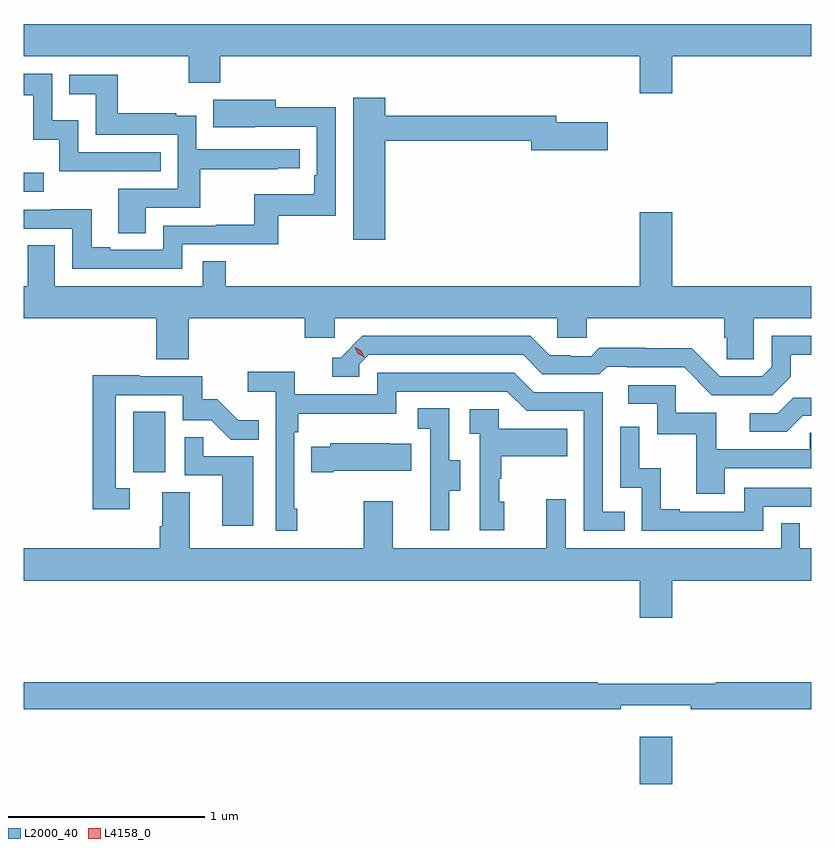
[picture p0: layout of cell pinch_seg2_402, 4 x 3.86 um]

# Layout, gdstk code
import gdstk
lib = gdstk.Library(unit=1e-6, precision=1e-09)
def R(c, l, rs):  # rectangles x0, y0, x1, y1
    for r in rs: c.add(gdstk.rectangle(r[:2], r[2:], *l))
def P(c, l, *ps):  # polygons
    for p in ps: c.add(gdstk.Polygon(p, *l))
L2000_40 = (2000, 40)
L4158_0 = (4158, 0)

pinch_seg2_402 = lib.new_cell('pinch_seg2_402')
R(pinch_seg2_402, L2000_40, [(1004.168,613.303,1004.332,613.543), (1001.594,614.886,1001.758,615.193), (1001.039,616.311,1001.14,616.408)])
P(pinch_seg2_402, L2000_40, [(1004.332,617),(1005.039,617),(1005.039,617.164),(1001.039,617.164),(1001.039,617),(1001.878,617),(1001.878,616.865),(1002.038,616.865),(1002.038,617),(1004.168,617),(1004.168,616.812),(1004.332,616.812)],
  [(1001.735,616.512),(1001.316,616.512),(1001.316,616.675),(1001.184,616.675),(1001.184,616.911),(1001.039,616.911),(1001.039,616.803),(1001.087,616.803),(1001.087,616.577),(1001.22,616.577),(1001.22,616.416),(1001.735,616.416)],
  [(1001.659,616.23),(1001.936,616.23),(1001.936,616.426),(1002.329,616.426),(1002.329,616.431),(1002.442,616.431),(1002.442,616.527),(1001.916,616.527),(1001.916,616.699),(1001.813,616.699),(1001.813,616.711),(1001.515,616.711),(1001.515,616.905),(1001.269,616.905),(1001.269,616.808),(1001.404,616.808),(1001.404,616.602),(1001.82,616.602),(1001.82,616.326),(1001.519,616.326),(1001.519,616.102),(1001.659,616.102)],
  [(1002.874,616.57),(1003.616,616.57),(1003.616,616.523),(1004.005,616.523),(1004.005,616.665),(1003.744,616.665),(1003.744,616.699),(1002.874,616.699),(1002.874,616.789),(1002.713,616.789),(1002.713,616.068),(1002.874,616.068)],
  [(1001.844,616.044),(1002.331,616.044),(1002.331,616.191),(1002.624,616.191),(1002.624,616.742),(1002.319,616.742),(1002.319,616.78),(1002.001,616.78),(1002.001,616.64),(1002.215,616.64),(1002.215,616.641),(1002.528,616.641),(1002.528,616.396),(1002.515,616.396),(1002.515,616.3),(1002.21,616.3),(1002.21,616.145),(1002.013,616.145),(1002.013,616.14),(1001.748,616.14),(1001.748,616.017),(1001.479,616.017),(1001.479,616.03),(1001.383,616.03),(1001.383,616.223),(1001.178,616.223),(1001.178,616.221),(1001.039,616.221),(1001.039,616.125),(1001.286,616.125),(1001.286,615.921),(1001.844,615.921)],
  [(1001.876,615.668),(1002.467,615.668),(1002.467,615.57),(1002.618,615.57),(1002.618,615.668),(1003.749,615.668),(1003.749,615.57),(1003.899,615.57),(1003.899,615.668),(1004.597,615.668),(1004.597,615.57),(1004.611,615.57),(1004.611,615.46),(1004.748,615.46),(1004.748,615.668),(1005.039,615.668),(1005.039,615.832),(1004.332,615.832),(1004.332,616.207),(1004.168,616.207),(1004.168,615.832),(1002.065,615.832),(1002.065,615.959),(1001.949,615.959),(1001.949,615.832),(1001.197,615.832),(1001.197,616.04),(1001.058,616.04),(1001.058,615.832),(1001.039,615.832),(1001.039,615.668),(1001.711,615.668),(1001.711,615.46),(1001.876,615.46)],
  [(1004.935,615.373),(1004.935,615.483),(1005.039,615.483),(1005.039,615.579),(1004.838,615.579),(1004.838,615.423),(1004.79,615.375),(1004.574,615.375),(1004.432,615.517),(1004.196,615.517),(1004.196,615.52),(1003.963,615.52),(1003.921,615.477),(1003.818,615.477),(1003.818,615.48),(1003.711,615.48),(1003.612,615.579),(1002.759,615.579),(1002.648,615.468),(1002.605,615.468),(1002.605,615.372),(1002.744,615.372),(1002.744,615.435),(1002.792,615.483),(1003.575,615.483),(1003.674,615.384),(1003.963,615.384),(1004.002,615.423),(1004.101,615.423),(1004.101,615.42),(1004.394,615.42),(1004.535,615.279),(1004.841,615.279)],
  [(1002.427,614.701),(1002.414,614.701),(1002.414,615.089),(1002.434,615.089),(1002.434,615.185),(1002.93,615.185),(1002.93,615.297),(1003.494,615.297),(1003.593,615.198),(1003.884,615.198),(1003.884,614.589),(1004.093,614.589),(1004.093,614.685),(1003.98,614.685),(1003.98,615.294),(1003.63,615.294),(1003.531,615.393),(1002.834,615.393),(1002.834,615.282),(1002.416,615.282),(1002.416,615.398),(1002.177,615.398),(1002.177,615.296),(1002.318,615.296),(1002.318,614.589),(1002.427,614.589)],
  [(1001.578,614.805),(1001.505,614.805),(1001.505,615.279),(1001.847,615.279),(1001.847,615.15),(1001.991,615.15),(1002.089,615.052),(1002.233,615.052),(1002.233,615.151),(1002.129,615.151),(1002.022,615.258),(1001.946,615.258),(1001.946,615.375),(1001.627,615.375),(1001.627,615.38),(1001.389,615.38),(1001.389,614.7),(1001.578,614.7)],
  [(1004.599,614.907),(1005.039,614.907),(1005.039,615.087),(1005.031,615.087),(1005.031,615.003),(1004.557,615.003),(1004.557,615.189),(1004.352,615.189),(1004.352,615.33),(1004.109,615.33),(1004.109,615.234),(1004.256,615.234),(1004.256,615.081),(1004.455,615.081),(1004.455,614.778),(1004.599,614.778)],
  [(1004.995,615.174),(1005.039,615.174),(1005.039,615.266),(1004.948,615.266),(1004.868,615.186),(1004.727,615.186),(1004.727,615.093),(1004.914,615.093)],
  [(1003.201,614.794),(1003.255,614.794),(1003.255,614.949),(1003.2,614.949),(1003.2,615.212),(1003.041,615.212),(1003.041,615.109),(1003.104,615.109),(1003.104,614.805),(1003.103,614.805),(1003.103,614.592),(1003.201,614.592)],
  [(1003.48,614.736),(1003.455,614.736),(1003.455,614.855),(1003.465,614.855),(1003.465,614.969),(1003.799,614.969),(1003.799,615.109),(1003.452,615.109),(1003.452,615.207),(1003.305,615.207),(1003.305,615.083),(1003.356,615.083),(1003.356,614.592),(1003.48,614.592)],
  [(1004.796,614.712),(1005.039,614.712),(1005.039,614.808),(1004.7,614.808),(1004.7,614.685),(1004.371,614.685),(1004.371,614.698),(1004.276,614.698),(1004.276,614.906),(1004.166,614.906),(1004.166,615.118),(1004.07,615.118),(1004.07,614.808),(1004.178,614.808),(1004.178,614.589),(1004.796,614.589)],
  [(1002.205,614.967),(1001.951,614.967),(1001.951,615.065),(1001.856,615.065),(1001.856,614.871),(1002.047,614.871),(1002.047,614.616),(1002.205,614.616)],
  [(1002.61,614.894),(1003.007,614.894),(1003.007,615.031),(1002.899,615.031),(1002.899,615.034),(1002.597,615.034),(1002.597,615.016),(1002.499,615.016),(1002.499,614.887),(1002.61,614.887)],
  [(1004.332,614.336),(1005.039,614.336),(1005.039,614.5),(1004.982,614.5),(1004.982,614.627),(1004.886,614.627),(1004.886,614.5),(1003.791,614.5),(1003.791,614.749),(1003.694,614.749),(1003.694,614.5),(1002.913,614.5),(1002.913,614.74),(1002.766,614.74),(1002.766,614.5),(1001.881,614.5),(1001.881,614.786),(1001.741,614.786),(1001.741,614.612),(1001.729,614.612),(1001.729,614.5),(1001.039,614.5),(1001.039,614.336),(1004.168,614.336),(1004.168,614.148),(1004.332,614.148)],
  [(1004.072,613.703),(1004.428,613.703),(1004.428,613.684),(1005.039,613.684),(1005.039,613.82),(1004.555,613.82),(1004.555,613.813),(1003.955,613.813),(1003.955,613.82),(1001.039,613.82),(1001.039,613.684),(1004.072,613.684)])
P(pinch_seg2_402, L4158_0, [(1002.769,615.47),(1002.738,615.489),(1002.721,615.522),(1002.721,615.522),(1002.722,615.522),(1002.753,615.503),(1002.769,615.47),(1002.769,615.47)])

lib.write_gds('pinch_seg2_402.gds')
